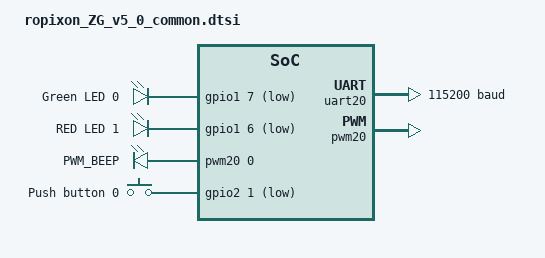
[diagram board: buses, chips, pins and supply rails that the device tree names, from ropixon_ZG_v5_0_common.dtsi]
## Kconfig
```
# SPDX-License-Identifier: Apache-2.0

#source "boards/Ropixon/ropixon_ZG_v5_0/Kconfig.ropixon_ZG_v5_0"
```

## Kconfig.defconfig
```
if BOARD_ROPIXON_ZG_V5_0_CPUAPP

config ROM_START_OFFSET
	default 0x800 if BOOTLOADER_MCUBOOT

endif # BOARD_ROPIXON_ZG_V5_0_CPUAPP
```

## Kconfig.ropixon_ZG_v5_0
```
config BOARD_ROPIXON_ZG_V5_0
	select SOC_NRF54L15_CPUAPP if BOARD_ROPIXON_ZG_V5_0_NRF54L15_CPUAPP
	select SOC_NRF54L15_CPUFLPR if \
		BOARD_ROPIXON_ZG_V5_0_NRF54L15_CPUFLPR || \
		BOARD_ROPIXON_ZG_V5_0_NRF54L15_CPUFLPR_XIP
```

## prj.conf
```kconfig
# Debug options
CONFIG_DEBUG_OPTIMIZATIONS=y
CONFIG_THREAD_NAME=y
CONFIG_THREAD_STACK_INFO=y
CONFIG_THREAD_MONITOR=y
CONFIG_INIT_STACKS=y
CONFIG_ASSERT=y

# config Logger
CONFIG_LOG=y
CONFIG_LOG_BACKEND_UART=y
CONFIG_SERIAL=y
CONFIG_UART_CONSOLE=y
CONFIG_CONSOLE=y
CONFIG_LOG_MODE_IMMEDIATE=n
# CONFIG_LOG_PROCESS_TRIGGER_THRESHOLD is not set
CONFIG_LOG_PROCESS_THREAD_SLEEP_MS=10


# LFCLK: použít interní RC oscilátor (32.768 kHz)
CONFIG_CLOCK_CONTROL_NRF_K32SRC_RC=y
# CONFIG_CLOCK_CONTROL_NRF_K32SRC_RC_CALIBRATION is not set
#CONFIG_CLOCK_CONTROL_NRF_K32SRC_XTAL=
CONFIG_CLOCK_CONTROL_NRF_K32SRC_RC_CALIBRATION=y
CONFIG_CLOCK_CONTROL_NRF_CALIBRATION_MAX_SKIP=2
CONFIG_CLOCK_CONTROL_NRF_CALIBRATION_TEMP_DIFF=2



#PWM
CONFIG_PWM=y
CONFIG_PWM_NRFX=y
#CONFIG_NRFX_PWM20=y

CONFIG_BOOTLOADER_MCUBOOT=n   

# WatchDog
# CONFIG_WDT_LOG_LEVEL_DBG=n
# CONFIG_WATCHDOG=y
# CONFIG_WDT_DISABLE_AT_BOOT=n

#ADC
# CONFIG_ADC=y
#CONFIG_NRFX_SAADC=y

# BLE
CONFIG_BT=y
CONFIG_BT_DEVICE_NAME="ZoneGuard"
CONFIG_BT_PERIPHERAL=y
CONFIG_BT_EXT_ADV=y
CONFIG_BT_RX_STACK_SIZE=4096
CONFIG_BT_HCI_TX_STACK_SIZE_WITH_PROMPT=y
CONFIG_BT_HCI_TX_STACK_SIZE=4096
CONFIG_MAIN_STACK_SIZE=4096
```

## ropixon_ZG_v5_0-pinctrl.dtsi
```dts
/*
 * Copyright (c) 2024 Ropixon
 * SPDX-License-Identifier: Apache-2.0
 */

&pinctrl {
    /omit-if-no-ref/ uart20_default: uart20_default {
        group1 {
            psels = <NRF_PSEL(UART_TX, 1, 1)>;
        };
        group2 {
            psels = <NRF_PSEL(UART_RX, 1, 2)>;
            bias-pull-up;
        };
    };

    /omit-if-no-ref/ uart20_sleep: uart20_sleep {
        group1 {
            psels = <NRF_PSEL(UART_TX, 1, 1)>,
                <NRF_PSEL(UART_RX, 1, 2)>;
            low-power-enable;
        };
    };

    /omit-if-no-ref/ pwm20_default: pwm20_default {
        group1 {
            psels = <NRF_PSEL(PWM_OUT0, 0, 1)>, <NRF_PSEL(PWM_OUT1, 0, 0)>;
        };
    };
    /omit-if-no-ref/ pwm20_sleep: pwm20_sleep {
        group1 {
            psels = <NRF_PSEL(PWM_OUT0, 0, 1)>;
            low-power-enable;
        };
    };

    /omit-if-no-ref/ grtc_default: grtc_default {
        group1 {
            psels = <NRF_PSEL(GRTC_CLKOUT_FAST, 1, 8)>,
                <NRF_PSEL(GRTC_CLKOUT_32K, 0, 4)>;
        };
    };

    /omit-if-no-ref/ grtc_sleep: grtc_sleep {
        group1 {
            psels = <NRF_PSEL(GRTC_CLKOUT_FAST, 1, 8)>,
                <NRF_PSEL(GRTC_CLKOUT_32K, 0, 4)>;
            low-power-enable;
        };
    };
};
```

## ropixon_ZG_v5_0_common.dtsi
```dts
/*
 * filepath: c:\Work\99_Witc\ZG_Repo\ZoneGuard\boards\Ropixon\ropixon_ZG_v5_0\ropixon_ZG_v5_0_common.dtsi
 * Copyright (c) 2024 Nordic Semiconductor ASA
 *
 * SPDX-License-Identifier: Apache-2.0
 */

 
#include "ropixon_ZG_v5_0-pinctrl.dtsi"


/ {
	leds {
		compatible = "gpio-leds";
		led0: led_0 {
			gpios = <&gpio1 7 GPIO_ACTIVE_LOW>;
			label = "Green LED 0";
			status = "okay";
		};
		led1: led_1 {
			gpios = <&gpio1 6 GPIO_ACTIVE_LOW>;
			label = "RED LED 1";
			status = "okay";
		};
	};

	// pwmleds {
	// 	compatible = "pwm-leds";
	// 	/*
	// 	 * PWM signal can be exposed on GPIO pin only within same domain.
	// 	 * There is only one domain which contains both PWM and GPIO:
	// 	 * PWM20/21/22 and GPIO Port P1.
	// 	 * Only LEDs connected to P1 can work with PWM, for example LED1.
	// 	 */
	// 	pwm_led1: pwm_led_1 {
	// 		pwms = <&pwm20 0 PWM_MSEC(20) PWM_POLARITY_NORMAL>;
	// 		status = "okay";
	// 	};
	// };

	pwm_beep: pwm_beep {
        compatible = "pwm-leds";
        pwm_buzzer: buzzer {
            pwms = <&pwm20 0 1000000 PWM_POLARITY_NORMAL>;
            label = "PWM_BEEP";
        };
    };


	buttons {
		compatible = "gpio-keys";
		button0: button_0 {
			gpios = <&gpio2 1 (GPIO_PULL_UP | GPIO_ACTIVE_LOW)>;
			label = "Push button 0";
			zephyr,code = <INPUT_KEY_0>;
			status = "okay";
		};
	};

	aliases {
		led0 = &led0;
		led1 = &led1;
		buzzer = &pwm_buzzer;
		button0 = &button0;
		//watchdog0 = &wdt31;
	};
};

&uart20 {
	current-speed = <115200>;
	pinctrl-0 = <&uart20_default>;
	pinctrl-1 = <&uart20_sleep>;
	pinctrl-names = "default", "sleep";
};


&pwm20 {
	status = "okay";
	pinctrl-0 = <&pwm20_default>;
	pinctrl-1 = <&pwm20_sleep>;
	pinctrl-names = "default", "sleep";
};
```

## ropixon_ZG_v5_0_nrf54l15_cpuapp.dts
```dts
/*
 * Copyright (c) 2024 Nordic Semiconductor ASA
 *
 * SPDX-License-Identifier: Apache-2.0
 */

/dts-v1/;

#include <nordic/nrf54l15_cpuapp.dtsi>
#include "ropixon_ZG_v5_0_nrf54l15_cpuapp_common.dtsi"


/ {
	model = "Main control board for ZG";
	compatible = "Ropixon,ropixon-ZG-v5-0-cpuapp";
	//compatible = "nordic,nrf54l15dk_nrf54l15-cpuapp";

	chosen {
		zephyr,code-partition = &slot0_partition;
		zephyr,sram = &cpuapp_sram;
		zephyr,flash = &cpuapp_rram;
	};
};

&cpuapp_sram {
	status = "okay";
};

&grtc {
	owned-channels = <0 1 2 3 4 5 6 7 8 9 10 11>;
	/* Channels 7-11 reserved for Zero Latency IRQs, 3-4 for FLPR */
	child-owned-channels = <3 4 7 8 9 10 11>;
	status = "okay";
};

&cpuapp_rram {
    partitions {
        compatible = "fixed-partitions";
        #address-cells = <1>;
        #size-cells = <1>;
        boot_partition: partition@0 {
            label = "mcuboot";
            reg = <0x0 DT_SIZE_K(64)>;
        };
        slot0_partition: partition@10000 {
            label = "image-0";
            reg = <0x10000 DT_SIZE_K(324)>;
        };
        slot0_ns_partition: partition@61000 {
            label = "image-0-nonsecure";
            reg = <0x61000 DT_SIZE_K(324)>;
        };
        slot1_partition: partition@b2000 {
            label = "image-1";
            reg = <0xb2000 DT_SIZE_K(324)>;
        };
        slot1_ns_partition: partition@103000 {
            label = "image-1-nonsecure";
            reg = <0x103000 DT_SIZE_K(324)>;
        };
        /* 32k from 0x154000 to 0x15bfff reserved for TF-M partitions */
        storage_partition: partition@15c000 {
            label = "storage";
            reg = <0x15c000 DT_SIZE_K(36)>;
        };
    };
};

// &pwm20_default {
// 	group1 {
// 		psels = <NRF_PSEL(PWM_OUT0, 0, 1)>, <NRF_PSEL(PWM_OUT1, 0, 0)>;
// 	};
// };
// /delete-node/ &{/pin-controller/pwm20_sleep/group1/};
```

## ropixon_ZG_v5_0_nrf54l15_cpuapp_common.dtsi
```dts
/*
 * Copyright (c) 2024 Ropixon
 * SPDX-License-Identifier: Apache-2.0
 */

/* This file is common to the secure and non-secure domain */

#include "ropixon_ZG_v5_0_common.dtsi"


/ {
	chosen {
		zephyr,console = &uart20;
		zephyr,shell-uart = &uart20;
		zephyr,uart-mcumgr = &uart20;
		zephyr,bt-mon-uart = &uart20;
		zephyr,bt-c2h-uart = &uart20;
		zephyr,flash-controller = &rram_controller;
		zephyr,flash = &cpuapp_rram;
		zephyr,ieee802154 = &ieee802154;
	};
};

&cpuapp_sram {
	status = "okay";
};

&lfxo {
	load-capacitors = "internal";
	load-capacitance-femtofarad = <15500>;
};

&hfxo {
	load-capacitors = "internal";
	load-capacitance-femtofarad = <15000>;
};

&regulators {
	status = "okay";
};

&vregmain {
	status = "okay";
	regulator-initial-mode = <NRF5X_REG_MODE_DCDC>;
};

&grtc {
	owned-channels = <0 1 2 3 4 5 6 7 8 9 10 11>;
	/* Channels 7-11 reserved for Zero Latency IRQs, 3-4 for FLPR */
	child-owned-channels = <3 4 7 8 9 10 11>;
	status = "okay";
};

&uart20 {
	status = "okay";
};

&gpio0 {
	status = "okay";
};

&gpio1 {
	status = "okay";
};

&gpio2 {
	status = "okay";
};

&gpiote20 {
	status = "okay";
};

&gpiote30 {
	status = "okay";
};

&radio {
	status = "okay";
};

&ieee802154 {
	status = "okay";
};

&temp {
	status = "okay";
};

&pwm20 {
    status = "okay";
};

&clock {
	status = "okay";
};


&adc {
	status = "okay";
};
```

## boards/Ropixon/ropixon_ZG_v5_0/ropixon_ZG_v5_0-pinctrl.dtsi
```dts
/*
 * Copyright (c) 2024 Ropixon
 * SPDX-License-Identifier: Apache-2.0
 */

&pinctrl {
    /omit-if-no-ref/ uart20_default: uart20_default {
        group1 {
            psels = <NRF_PSEL(UART_TX, 1, 1)>;
        };
        group2 {
            psels = <NRF_PSEL(UART_RX, 1, 2)>;
            bias-pull-up;
        };
    };

    /omit-if-no-ref/ uart20_sleep: uart20_sleep {
        group1 {
            psels = <NRF_PSEL(UART_TX, 1, 1)>,
                <NRF_PSEL(UART_RX, 1, 2)>;
            low-power-enable;
        };
    };

    /omit-if-no-ref/ pwm20_default: pwm20_default {
        group1 {
            psels = <NRF_PSEL(PWM_OUT0, 1, 4)>, <NRF_PSEL(PWM_OUT1, 1, 3)>;
        };
    };
    /omit-if-no-ref/ pwm20_sleep: pwm20_sleep {
        group1 {
            psels = <NRF_PSEL(PWM_OUT0, 0, 1)>;
            low-power-enable;
        };
    };

    /omit-if-no-ref/ grtc_default: grtc_default {
        group1 {
            psels = <NRF_PSEL(GRTC_CLKOUT_FAST, 1, 8)>,
                <NRF_PSEL(GRTC_CLKOUT_32K, 0, 4)>;
        };
    };

    /omit-if-no-ref/ grtc_sleep: grtc_sleep {
        group1 {
            psels = <NRF_PSEL(GRTC_CLKOUT_FAST, 1, 8)>,
                <NRF_PSEL(GRTC_CLKOUT_32K, 0, 4)>;
            low-power-enable;
        };
    };
};
```

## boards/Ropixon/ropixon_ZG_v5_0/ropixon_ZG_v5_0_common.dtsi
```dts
/*
 * filepath: c:\Work\99_Witc\ZG_Repo\ZoneGuard\boards\Ropixon\ropixon_ZG_v5_0\ropixon_ZG_v5_0_common.dtsi
 * Copyright (c) 2024 Nordic Semiconductor ASA
 *
 * SPDX-License-Identifier: Apache-2.0
 */

 
#include "ropixon_ZG_v5_0-pinctrl.dtsi"


/ {
	leds {
		compatible = "gpio-leds";
		led0: led_0 {
			gpios = <&gpio1 7 GPIO_ACTIVE_LOW>;
			label = "Green LED 0";
			status = "okay";
		};
		led1: led_1 {
			gpios = <&gpio1 6 GPIO_ACTIVE_LOW>;
			label = "RED LED 1";
			status = "okay";
		};
	};

	// pwmleds {
	// 	compatible = "pwm-leds";
	// 	/*
	// 	 * PWM signal can be exposed on GPIO pin only within same domain.
	// 	 * There is only one domain which contains both PWM and GPIO:
	// 	 * PWM20/21/22 and GPIO Port P1.
	// 	 * Only LEDs connected to P1 can work with PWM, for example LED1.
	// 	 */
	// 	pwm_led1: pwm_led_1 {
	// 		pwms = <&pwm20 0 PWM_MSEC(20) PWM_POLARITY_NORMAL>;
	// 		status = "okay";
	// 	};
	// };

	pwm_beep: pwm_beep {
        compatible = "pwm-leds";
        pwm_buzzer: buzzer {
            pwms = <&pwm20 0 1000000 PWM_POLARITY_NORMAL>;
            label = "PWM_BEEP";
        };
    };


	buttons {
		compatible = "gpio-keys";
		button0: button_0 {
			gpios = <&gpio0 0 (GPIO_PULL_UP | GPIO_ACTIVE_LOW)>;
			label = "Push button 0";
			zephyr,code = <INPUT_KEY_0>;
			status = "okay";
		};
	};

	aliases {
		led0 = &led0;
		led1 = &led1;
		buzzer = &pwm_buzzer;
		button0 = &button0;
		//watchdog0 = &wdt31;
	};
};

&uart20 {
	current-speed = <115200>;
	pinctrl-0 = <&uart20_default>;
	pinctrl-1 = <&uart20_sleep>;
	pinctrl-names = "default", "sleep";
};


&pwm20 {
	status = "okay";
	pinctrl-0 = <&pwm20_default>;
	pinctrl-1 = <&pwm20_sleep>;
	pinctrl-names = "default", "sleep";
};
```

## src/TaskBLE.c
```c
#include "TaskBLE.h"
#include <zephyr/logging/log.h>
#include "main.h"
#include "TaskMain.h"

#include <zephyr/types.h>
#include <stddef.h>
#include <string.h>
#include <errno.h>
#include <zephyr/sys/printk.h>
#include <zephyr/sys/byteorder.h>
#include <zephyr/kernel.h>
#include <zephyr/bluetooth/bluetooth.h>
#include <zephyr/bluetooth/hci.h>
#include <zephyr/bluetooth/conn.h>
#include <zephyr/bluetooth/uuid.h>
#include <zephyr/bluetooth/gatt.h>

LOG_MODULE_REGISTER(task_ble, LOG_LEVEL_INF);

#define BLE_STACK_SIZE 4096
#define BLE_PRIORITY 0
#define BLE_MSGQ_LEN 16

K_THREAD_STACK_DEFINE(ble_stack_area, BLE_STACK_SIZE);
static struct k_thread ble_thread;
K_MSGQ_DEFINE(ble_msgq, sizeof(ble_event_t), BLE_MSGQ_LEN, 1);

static struct bt_conn *default_conn=NULL;

static void Task_BLE(void *, void *, void *);
static void connected_cb(struct bt_conn *conn, uint8_t err);
static void disconnected_cb(struct bt_conn *conn, uint8_t reason);

#define DEVICE_NAME             CONFIG_BT_DEVICE_NAME
#define DEVICE_NAME_LEN         (sizeof(DEVICE_NAME) - 1)

static const struct bt_data ad[] = {
    BT_DATA_BYTES(BT_DATA_FLAGS, (BT_LE_AD_GENERAL | BT_LE_AD_NO_BREDR)),
    BT_DATA(BT_DATA_NAME_COMPLETE, DEVICE_NAME, DEVICE_NAME_LEN),
};

BT_CONN_CB_DEFINE(conn_callbacks) = 
{
    .connected = connected_cb,
    .disconnected = disconnected_cb,
};

int TaskBLE_SendEvent(const ble_event_t *evt)
{
    return k_msgq_put(&ble_msgq, evt, K_FOREVER);
}

// BLE callbacky
static void connected_cb(struct bt_conn *conn, uint8_t err)
{
    ble_event_t evt = 
    {
        .type = BLE_EVENT_CONNECTED
    };
    TaskBLE_SendEvent(&evt);

    if (default_conn)
    {
        bt_conn_unref(default_conn);
    }
    default_conn = bt_conn_ref(conn);

    LOG_INF("BLE Connected");
}

static void disconnected_cb(struct bt_conn *conn, uint8_t reason)
{
    ble_event_t evt = 
    {
        .type = BLE_EVENT_DISCONNECTED
    };
    TaskBLE_SendEvent(&evt);

    if (default_conn) 
    {
        bt_conn_unref(default_conn);
        default_conn = NULL;
    }

    LOG_INF("BLE Disconnected (reason: %d)", reason);
}

static int start_advertising(void)
{
    int err = bt_le_adv_start(BT_LE_ADV_CONN, ad, ARRAY_SIZE(ad), NULL, 0);
    if (!err) 
    {
        ble_event_t evt = 
        {
            .type = BLE_EVENT_ADV_STARTED
        };
        TaskBLE_SendEvent(&evt);
        LOG_INF("BLE Advertising started");
    }
    return err;
}

void TaskBLE_Start(void)
{
    k_thread_create(&ble_thread, ble_stack_area, K_THREAD_STACK_SIZEOF(ble_stack_area),
                    Task_BLE, NULL, NULL, NULL,
                    BLE_PRIORITY, 0, K_NO_WAIT);

    k_thread_name_set(&ble_thread, "TaskBLE");
}

// Vlastní BLE task
static void Task_BLE(void *a, void *b, void *c)
{
    int err;

    err = bt_enable(NULL);
    if (err) 
    {
        LOG_ERR("BLE stack init failed (%d)", err);
        return;
    }
    
    start_advertising();
    ble_event_t evt;
    while (1)
    {
        if (k_msgq_get(&ble_msgq, &evt, K_FOREVER) == 0) 
        {
       
        }
    }
}
```

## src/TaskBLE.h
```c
#pragma once

#include <zephyr/kernel.h>
#include <stdbool.h>
#include <stdint.h>

typedef enum {
    BLE_EVENT_CONNECTED,
    BLE_EVENT_DISCONNECTED,
    BLE_EVENT_ADV_STARTED,
    BLE_EVENT_ADV_STOPPED,
    BLE_EVENT_DATA_RX,
    // případně další eventy
} ble_event_type_t;

typedef struct {
    ble_event_type_t type;
    uint8_t data[32]; // nebo podle potřeby (RX buffer)
    uint16_t len;
} ble_event_t;

// API
void TaskBLE_Start(void);
int TaskBLE_SendEvent(const ble_event_t *evt);
```
